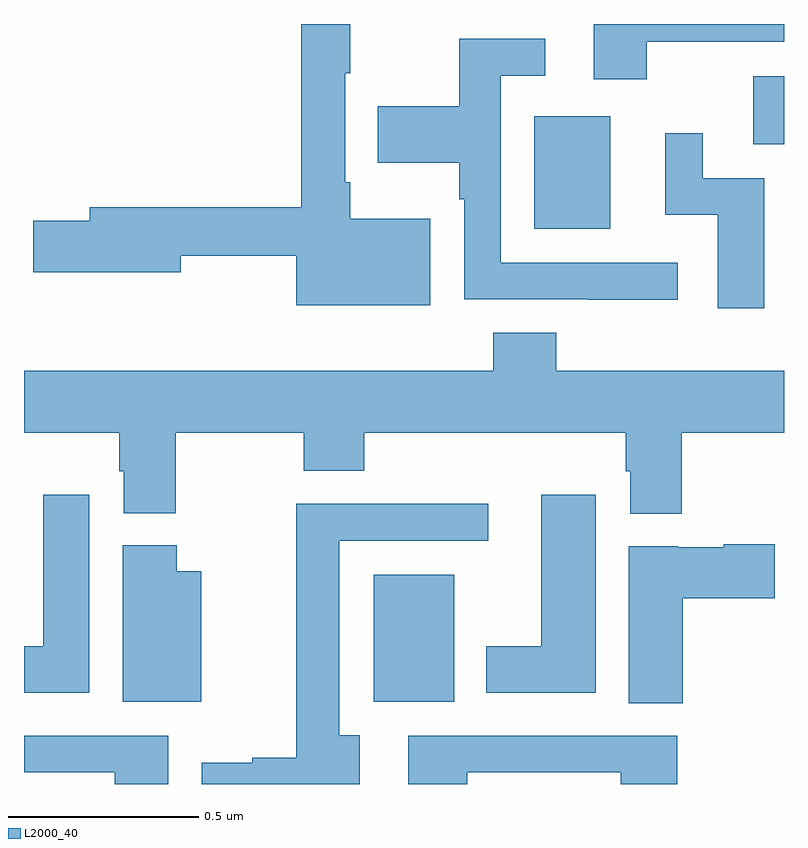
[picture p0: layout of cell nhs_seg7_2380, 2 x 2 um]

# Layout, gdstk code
import gdstk
lib = gdstk.Library(unit=1e-6, precision=1e-09)
def R(c, l, rs):  # rectangles x0, y0, x1, y1
    for r in rs: c.add(gdstk.rectangle(r[:2], r[2:], *l))
def P(c, l, *ps):  # polygons
    for p in ps: c.add(gdstk.Polygon(p, *l))
L2000_40 = (2000, 40)

nhs_seg7_2380 = lib.new_cell('nhs_seg7_2380')
R(nhs_seg7_2380, L2000_40, [(144.92,1025.216,145.132,1025.551), (145.343,1026.461,145.543,1026.757), (145.919,1026.683,146,1026.862)])
P(nhs_seg7_2380, L2000_40, [(145.069,1026.487),(144.859,1026.487),(144.859,1026.583),(144.846,1026.583),(144.846,1026.871),(144.859,1026.871),(144.859,1027),(144.73,1027),(144.73,1026.518),(144.173,1026.518),(144.173,1026.482),(144.024,1026.482),(144.024,1026.347),(144.412,1026.347),(144.412,1026.39),(144.716,1026.39),(144.716,1026.26),(145.069,1026.26)],
  [(145.639,1026.953),(146,1026.953),(146,1027),(145.499,1027),(145.499,1026.855),(145.639,1026.855)],
  [(145.72,1026.372),(145.254,1026.372),(145.254,1026.864),(145.372,1026.864),(145.372,1026.961),(145.146,1026.961),(145.146,1026.783),(144.931,1026.783),(144.931,1026.635),(145.146,1026.635),(145.146,1026.539),(145.158,1026.539),(145.158,1026.276),(145.483,1026.276),(145.483,1026.275),(145.72,1026.275)],
  [(145.948,1026.594),(145.786,1026.594),(145.786,1026.712),(145.688,1026.712),(145.688,1026.498),(145.826,1026.498),(145.826,1026.252),(145.948,1026.252)],
  [(145.731,1025.924),(146,1025.924),(146,1026.088),(145.4,1026.088),(145.4,1026.187),(145.235,1026.187),(145.235,1026.088),(144,1026.088),(144,1025.924),(144.251,1025.924),(144.251,1025.823),(144.263,1025.823),(144.263,1025.713),(144.399,1025.713),(144.399,1025.924),(144.736,1025.924),(144.736,1025.825),(144.896,1025.825),(144.896,1025.924),(145.583,1025.924),(145.583,1025.823),(145.595,1025.823),(145.595,1025.711),(145.731,1025.711)],
  [(144.172,1025.761),(144.05,1025.761),(144.05,1025.362),(144,1025.362),(144,1025.24),(144.172,1025.24)],
  [(145.504,1025.761),(145.361,1025.761),(145.361,1025.362),(145.217,1025.362),(145.217,1025.24),(145.504,1025.24)],
  [(144.883,1025.128),(144.829,1025.128),(144.829,1025.64),(145.222,1025.64),(145.222,1025.738),(144.716,1025.738),(144.716,1025.069),(144.6,1025.069),(144.6,1025.056),(144.468,1025.056),(144.468,1025),(144.883,1025)],
  [(145.734,1025.489),(145.975,1025.489),(145.975,1025.631),(145.842,1025.631),(145.842,1025.623),(145.722,1025.623),(145.722,1025.626),(145.592,1025.626),(145.592,1025.212),(145.734,1025.212)],
  [(144.466,1025.56),(144.402,1025.56),(144.402,1025.628),(144.26,1025.628),(144.26,1025.216),(144.466,1025.216)],
  [(145.167,1025.031),(145.571,1025.031),(145.571,1025),(145.719,1025),(145.719,1025.127),(145.011,1025.127),(145.011,1025),(145.167,1025)],
  [(144.379,1025.127),(144,1025.127),(144,1025.031),(144.239,1025.031),(144.239,1025),(144.379,1025)])

lib.write_gds('nhs_seg7_2380.gds')
